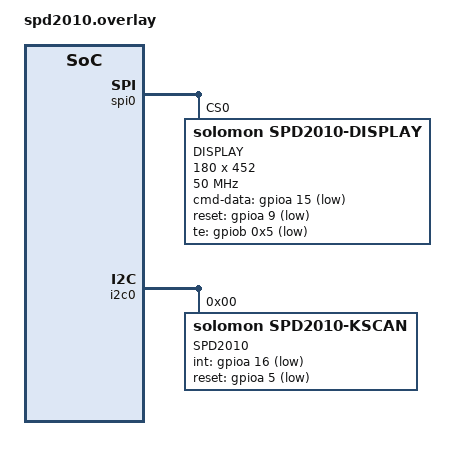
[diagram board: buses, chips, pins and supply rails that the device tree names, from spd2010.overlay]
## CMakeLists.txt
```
# SPDX-License-Identifier: Apache-2.0

cmake_minimum_required(VERSION 3.20.0)

set(SUPPORT_BOARDS csk6012_nano csk6011a_nano)
if(NOT ${BOARD} IN_LIST SUPPORT_BOARDS)
    message("Please choose one of the following boards:")
    foreach(item ${SUPPORT_BOARDS})
        message(STATUS ${item})
    endforeach()
    message(FATAL_ERROR "\nThe project does not support the ${BOARD}")
endif()

find_package(Zephyr REQUIRED HINTS $ENV{ZEPHYR_BASE})
project(lvgl8)

FILE(GLOB app_sources src/*.c)
target_sources(app PRIVATE ${app_sources})
```

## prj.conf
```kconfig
CONFIG_LOG=y

CONFIG_ST7789V=y
CONFIG_GPIO=y
CONFIG_SPI=y

CONFIG_LVGL=y
CONFIG_DISPLAY=y
CONFIG_LV_Z_DISPLAY_DEV_NAME="ST7789V"
CONFIG_LV_Z_HOR_RES_MAX=320
CONFIG_LV_Z_VER_RES_MAX=480
CONFIG_LV_USE_DEMO_WIDGETS=y
CONFIG_LV_USE_DEMO_BENCHMARK=y

CONFIG_LV_COLOR_16_SWAP=y
CONFIG_LV_MEM_SIZE_KILOBYTES=64
CONFIG_MINIMAL_LIBC_MALLOC_ARENA_SIZE=512
```

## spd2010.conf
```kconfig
CONFIG_LOG=y

CONFIG_SPD2010=y
CONFIG_GPIO=y
CONFIG_SPI=y

CONFIG_LVGL=y
CONFIG_DISPLAY=y
CONFIG_LV_Z_DISPLAY_DEV_NAME="DISPLAY"
CONFIG_LV_Z_HOR_RES_MAX=180
CONFIG_LV_Z_VER_RES_MAX=452
CONFIG_LV_USE_DEMO_WIDGETS=y
# CONFIG_LV_USE_DEMO_BENCHMARK=y

CONFIG_LV_COLOR_16_SWAP=y
CONFIG_LV_MEM_SIZE_KILOBYTES=64
CONFIG_MINIMAL_LIBC_MALLOC_ARENA_SIZE=512
CONFIG_LV_PIXEL_ALIGN_SIZE=4
CONFIG_KSCAN=y
CONFIG_KSCAN_SPD2010=y
CONFIG_I2C=y
CONFIG_LV_Z_POINTER_KSCAN=y
CONFIG_LV_Z_POINTER_KSCAN_DEV_NAME="SPD2010"
CONFIG_LV_Z_POINTER_KSCAN_SWAP_XY=y
CONFIG_LV_COLOR_DEPTH_16=y
CONFIG_LV_Z_BITS_PER_PIXEL=16
CONFIG_SPD2010_ORIENTATION_180=y
CONFIG_SPD2010_FIXEL_FORMAT_BGR565=y
# CONFIG_LV_USE_DEMO_MUSIC=y
CONFIG_LV_USE_DEMO_WIDGETS=y
CONFIG_LV_FONT_MONTSERRAT_12=y
CONFIG_LV_FONT_MONTSERRAT_16=y

CONFIG_LV_USE_PERF_MONITOR=y
CONFIG_LV_PERF_MONITOR_ALIGN_BOTTOM_RIGHT=y
CONFIG_LV_USE_MEM_MONITOR=y
CONFIG_LV_MEM_MONITOR_ALIGN_BOTTOM_LEFT=y
CONFIG_MAIN_STACK_SIZE=10240
CONFIG_MAIN_THREAD_PRIORITY=-16
CONFIG_LV_Z_VDB_SIZE=40
```

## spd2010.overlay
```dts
/*
 * Copyright (c) 2023 Anhui(Shenzhen) Listenai Co., Ltd.
 *
 * SPDX-License-Identifier: Apache-2.0
 */
 &pinctrl {

	pinctrl_i2c0_scl_default: i2c0_scl_default{
		pinctrls = <I2C0_SCL_GPIOB_10>;
	};

	pinctrl_i2c0_sda_default: i2c0_sda_default{
		pinctrls = <I2C0_SDA_GPIOB_11>;
	};

	pinctrl_spi0_sclk_default: spi0_sclk_default {
		pinctrls = <SPI0_CLK_GPIOA_07>;
	};
	pinctrl_spi0_mosi_default: spi0_mosi_default {
		pinctrls = <SPI0_MOSI_GPIOA_06>;
	};

	pinctrl_spi0_cs_default: spi0_cs_default {
		pinctrls = <SPI0_CS_N_GPIOA_04>;
	};
};

&spi0 {
	status = "okay";
	pinctrl-0 = <&pinctrl_spi0_sclk_default &pinctrl_spi0_mosi_default &pinctrl_spi0_cs_default>;
	pinctrl-names = "default";
	
	spd2010_display@0 {
		height = <452>;
		width = <180>;
		compatible = "solomon,spd2010-display";
		label = "DISPLAY";
		reg = <0>;
		cmd-data-gpios = <&gpioa 15 1>;
		reset-gpios = <&gpioa 9 1>;
		te-gpios = <&gpiob 0x5 1>;
		x-offset = <0>;
		y-offset = <0>;
		spi-max-frequency = <50000000>;
	};
	
};
&i2c0 {
	status = "okay";
	pinctrl-0 = <&pinctrl_i2c0_scl_default &pinctrl_i2c0_sda_default>;
	pinctrl-names = "default";
	spd2010_kscan@0 {
		compatible = "solomon,spd2010-kscan";
		reg = <0>;
		label = "SPD2010";
		status = "okay";
		int-gpios = <&gpioa 16 1>;
		reset-gpios = <&gpioa 5 1>;
	};
};
```

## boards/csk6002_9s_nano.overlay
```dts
#include <dt-bindings/display/ili9xxx.h>
&csk6002_9s_nano_pinctrl{ 
                pinctrl_i2c0_scl_default: i2c0_scl_default{
                        pinctrls = <I2C0_SCL_GPIOB_02>;
                };
                
                pinctrl_i2c0_sda_default: i2c0_sda_default{
                        pinctrls = <I2C0_SDA_GPIOB_03>;
                };    

                pinctrl_spi0_sclk_default: spi0_sclk_default {
                        pinctrls = < SPI0_CLK_GPIOA_07 >;
                };
                pinctrl_spi0_mosi_default: spi0_mosi_default {
                        pinctrls = < SPI0_MOSI_GPIOA_06 >;
                };
                pinctrl_spi0_miso_default: spi0_miso_default {
                        pinctrls = < SPI0_MISO_GPIOA_05 >;
                };
                pinctrl_spi0_cs_default: spi0_cs_default {
                        pinctrls = < SPI0_CS_N_GPIOA_04 >;
                }; 
};

&spi0 {
        status = "okay";
        pinctrl-0 = <&pinctrl_spi0_sclk_default &pinctrl_spi0_mosi_default &pinctrl_spi0_miso_default &pinctrl_spi0_cs_default>; 
        pinctrl-names = "default";

        ili9488@0 {
        compatible = "ilitek,ili9488";
        label = "DISPLAY";
        spi-max-frequency = <50000000>;
        reg = <0>;
        cmd-data-gpios = <&gpioa 8 1>; 
        reset-gpios = <&gpioa 9 1>; 
        width = < 320 >;
        height = < 480 >;
        pixel-format = <ILI9XXX_PIXEL_FORMAT_RGB888>;
        rotation = <0>;
        frmctr1 = [a0 11];
        pwctrl1 = [17 15];
        pwctrl2 = [41];
        pgamctrl = [00 03 09 08 16 0a 3f 78 4c 09 0a 08 16 1a 0f];
        ngamctrl = [00 16 19 03 0f 05 32 45 46 04 0e 0d 35 37 0f];
    };
};

&i2c0 {
        status = "okay";
        pinctrl-0 = <&pinctrl_i2c0_scl_default &pinctrl_i2c0_sda_default>; 
        pinctrl-names = "default";
        bl6xxx@0 {
                compatible = "betterlife,bl6xxx";
                reg = <0>;
                label = "BL6XXX";
                status = "okay";
                int-gpios = <&gpioa 3 0>;
                reset-gpios = <&gpioa 2 0>;
        };
};
```

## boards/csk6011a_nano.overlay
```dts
/*
 * Copyright (c) 2023 Anhui(Shenzhen) Listenai Co., Ltd.
 *
 * SPDX-License-Identifier: Apache-2.0
 */
&pinctrl {

	pinctrl_i2c0_scl_default: i2c0_scl_default{
		pinctrls = <I2C0_SCL_GPIOB_04>;
	};

	pinctrl_i2c0_sda_default: i2c0_sda_default{
		pinctrls = <I2C0_SDA_GPIOB_03>;
	};

	pinctrl_spi0_sclk_default: spi0_sclk_default {
		pinctrls = <SPI0_CLK_GPIOA_07>;
	};
	pinctrl_spi0_mosi_default: spi0_mosi_default {
		pinctrls = <SPI0_MOSI_GPIOA_06>;
	};

	pinctrl_spi0_cs_default: spi0_cs_default {
		pinctrls = <SPI0_CS_N_GPIOA_04>;
	};

};

&spi0 {
	status = "okay";
	pinctrl-0 = <&pinctrl_spi0_sclk_default &pinctrl_spi0_mosi_default &pinctrl_spi0_cs_default>;
	pinctrl-names = "default";
	
	lwea2012@0 {
		height = <454>;
		width = <180>;
		compatible = "solomon,lwea2012";
		label = "DISPLAY";
		reg = <0>;
		cmd-data-gpios = <&gpioa 15 1>;
		reset-gpios = <&gpioa 9 1>;
		// te-gpios = <&gpiob 0x5 1>;
		x-offset = <0>;
		y-offset = <0>;
		spi-max-frequency = <50000000>;
	};
};

&i2c0 {
	status = "okay";
	pinctrl-0 = <&pinctrl_i2c0_scl_default &pinctrl_i2c0_sda_default>;
	pinctrl-names = "default";
	ft5336@0 {
		compatible = "focaltech,ft5336";
		reg = <56>;
		label = "FT5336";
		status = "okay";
		int-gpios = <&gpiob 11 0>;
	};
};
```

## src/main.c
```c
/*
 * Copyright (c) 2023 Anhui(Shenzhen) Listenai Co., Ltd.
 *
 * SPDX-License-Identifier: Apache-2.0
 */
#include <stdio.h>
#include <string.h>

#include <device.h>
#include <drivers/display.h>
#include <lvgl.h>
#include <zephyr.h>
#include <drivers/kscan.h>

#define LOG_LEVEL CONFIG_LOG_DEFAULT_LEVEL
#include <logging/log.h>
LOG_MODULE_REGISTER(app);

static void k_callback(const struct device *dev, uint32_t row, uint32_t col, bool pressed)
{
	ARG_UNUSED(dev);
	printk("row = %u col = %u, pressed:%s\n", row, col, pressed ? "TRUE" : "FLASE");
}

void kscan_init(void)
{
	const struct device *kscan_dev = device_get_binding("SPD2010");

	if (!device_is_ready(kscan_dev)) {
		LOG_ERR("kscan device %s not ready", kscan_dev->name);
		return;
	}

	kscan_config(kscan_dev, k_callback);
	kscan_enable_callback(kscan_dev);
}

void main(void)
{
	const struct device *display_dev;

	display_dev = device_get_binding(CONFIG_LV_Z_DISPLAY_DEV_NAME);
	if (display_dev == NULL) {
		LOG_ERR("Device not ready, aborting test");
		return;
	}
	
	// kscan_init();

	display_blanking_off(display_dev);
	// lv_disp_set_rotation(NULL, LV_DISP_ROT_270);

	// extern void lv_demo_benchmark(void);
	// lv_demo_benchmark();
	extern void lv_demo_widgets(void);
	lv_demo_widgets();
	uint32_t i= 0;
	while (1) {
		lv_task_handler();
		k_sleep(K_MSEC(10));
		// ++i;
		// int r;
		// if (i % 400 == 0) {
		// 	// lv_disp_set_rotation(NULL, LV_DISP_ROT_90);
		// 	r = display_set_orientation(display_dev, DISPLAY_ORIENTATION_NORMAL);
		// } else if (i % 200 == 0) {
		// 	// lv_disp_set_rotation(NULL, LV_DISP_ROT_270);
		// 	r = display_set_orientation(display_dev, DISPLAY_ORIENTATION_ROTATED_180);
		// }
	}
}
```
